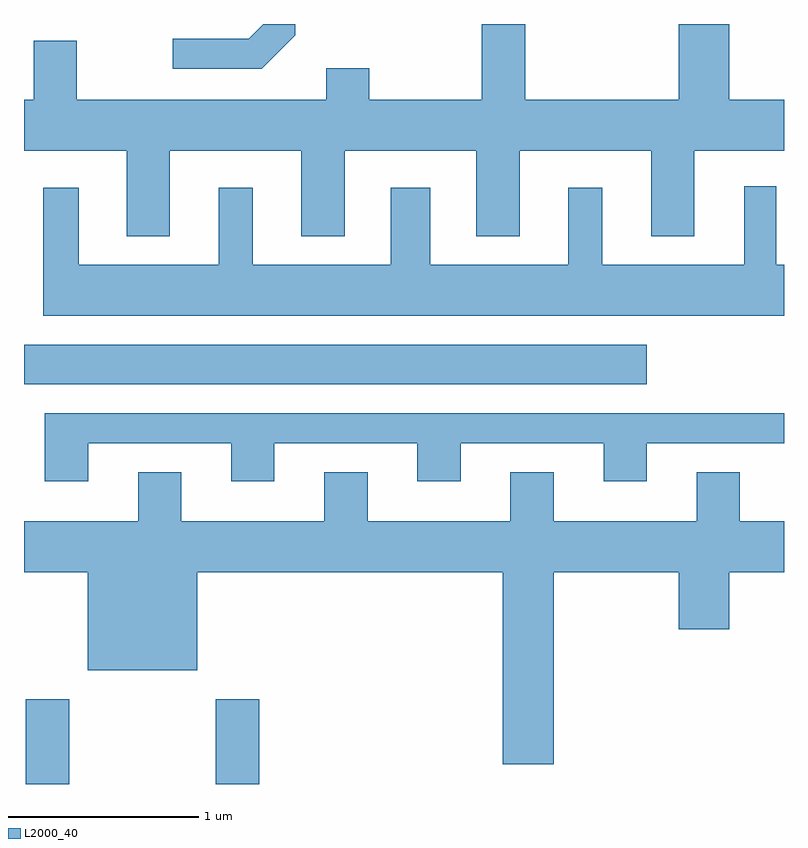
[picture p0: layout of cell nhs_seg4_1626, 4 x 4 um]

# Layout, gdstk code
import gdstk
lib = gdstk.Library(unit=1e-6, precision=1e-09)
def R(c, l, rs):  # rectangles x0, y0, x1, y1
    for r in rs: c.add(gdstk.rectangle(r[:2], r[2:], *l))
def P(c, l, *ps):  # polygons
    for p in ps: c.add(gdstk.Polygon(p, *l))
L2000_40 = (2000, 40)

nhs_seg4_1626 = lib.new_cell('nhs_seg4_1626')
R(nhs_seg4_1626, L2000_40, [(231.621,1377.982,231.849,1378.429), (232.621,1377.982,232.849,1378.429), (231.611,1380.086,234.889,1380.294)])
P(nhs_seg4_1626, L2000_40, [(232.379,1381.316),(233.071,1381.316),(233.071,1380.866),(233.299,1380.866),(233.299,1381.316),(233.991,1381.316),(233.991,1380.866),(234.219,1380.866),(234.219,1381.316),(234.911,1381.316),(234.911,1380.866),(235.139,1380.866),(235.139,1381.316),(235.611,1381.316),(235.611,1381.584),(235.324,1381.584),(235.324,1381.982),(235.056,1381.982),(235.056,1381.584),(234.249,1381.584),(234.249,1381.982),(234.021,1381.982),(234.021,1381.584),(233.429,1381.584),(233.429,1381.749),(233.201,1381.749),(233.201,1381.584),(231.889,1381.584),(231.889,1381.894),(231.661,1381.894),(231.661,1381.584),(231.611,1381.584),(231.611,1381.316),(232.151,1381.316),(232.151,1380.866),(232.379,1380.866)],
  [(233.039,1381.924),(233.039,1381.982),(232.871,1381.982),(232.794,1381.904),(232.393,1381.904),(232.393,1381.746),(232.862,1381.746)],
  [(235.611,1380.714),(235.569,1380.714),(235.569,1381.128),(235.401,1381.128),(235.401,1380.714),(234.654,1380.714),(234.654,1381.119),(234.476,1381.119),(234.476,1380.714),(233.749,1380.714),(233.749,1381.119),(233.541,1381.119),(233.541,1380.714),(232.814,1380.714),(232.814,1381.119),(232.636,1381.119),(232.636,1380.714),(231.899,1380.714),(231.899,1381.119),(231.711,1381.119),(231.711,1380.446),(235.611,1380.446)],
  [(231.949,1379.776),(232.701,1379.776),(232.701,1379.576),(232.929,1379.576),(232.929,1379.776),(233.681,1379.776),(233.681,1379.576),(233.909,1379.576),(233.909,1379.776),(234.661,1379.776),(234.661,1379.576),(234.889,1379.576),(234.889,1379.776),(235.611,1379.776),(235.611,1379.934),(231.721,1379.934),(231.721,1379.576),(231.949,1379.576)],
  [(234.399,1379.096),(235.056,1379.096),(235.056,1378.796),(235.324,1378.796),(235.324,1379.096),(235.611,1379.096),(235.611,1379.364),(235.379,1379.364),(235.379,1379.624),(235.151,1379.624),(235.151,1379.364),(234.399,1379.364),(234.399,1379.624),(234.171,1379.624),(234.171,1379.364),(233.419,1379.364),(233.419,1379.624),(233.191,1379.624),(233.191,1379.364),(232.439,1379.364),(232.439,1379.624),(232.211,1379.624),(232.211,1379.364),(231.611,1379.364),(231.611,1379.096),(231.946,1379.096),(231.946,1378.581),(232.524,1378.581),(232.524,1379.096),(234.131,1379.096),(234.131,1378.086),(234.399,1378.086)])

lib.write_gds('nhs_seg4_1626.gds')
